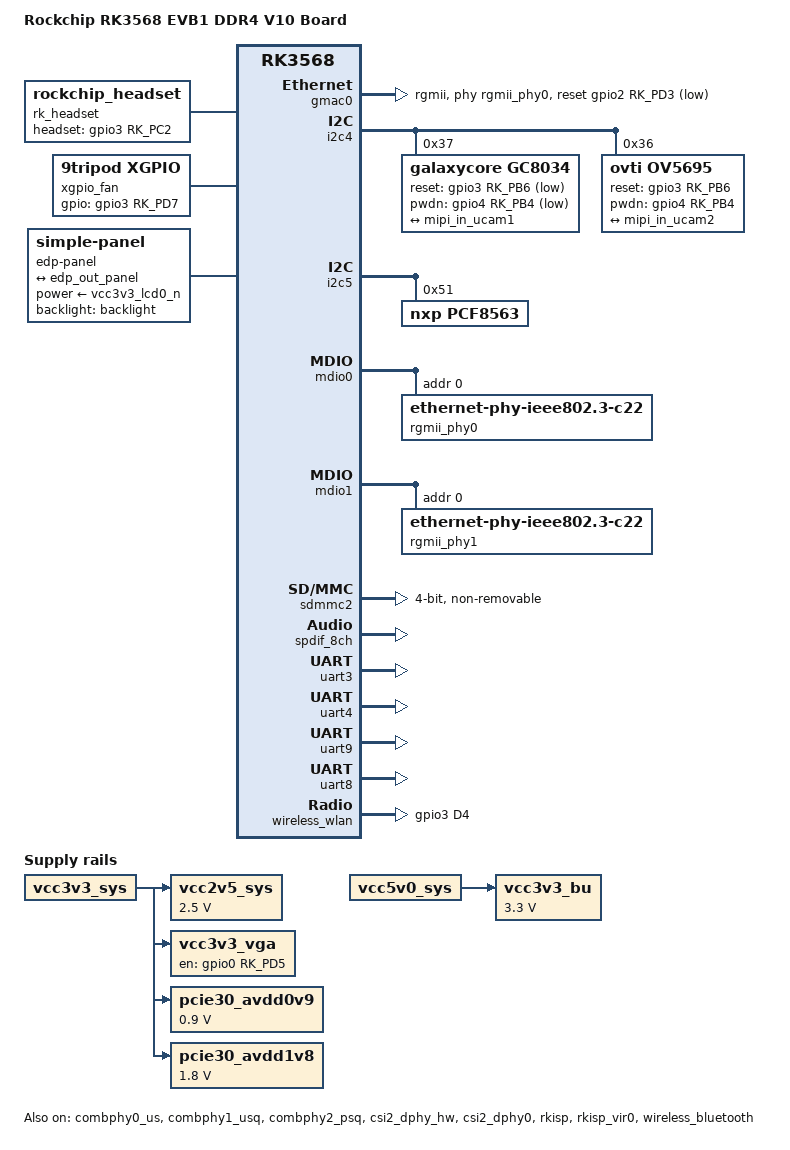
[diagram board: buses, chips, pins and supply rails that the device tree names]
// SPDX-License-Identifier: (GPL-2.0+ OR MIT)
/*
 * Copyright (c) 2020 Rockchip Electronics Co., Ltd.
 *
 */

/dts-v1/;

#include <dt-bindings/gpio/gpio.h>
#include <dt-bindings/pinctrl/rockchip.h>
#include "rk3568.dtsi"
#include "rk3568-evb.dtsi"
//#include "lcd-dsi0-mipi-lvds-1080p.dtsi"//dsi0
#include "lcd-dsi0-mipi1024x600-WY070ML.dtsi"
//#include "lcd-dsi0-lvds1280x800-EJ101IA.dtsi"

/ {
	model = "Rockchip RK3568 EVB1 DDR4 V10 Board";
	compatible = "rockchip,rk3568-evb1-ddr4-v10", "rockchip,rk3568";

	rk_headset: rk-headset {
		compatible = "rockchip_headset";
		headset_gpio = <&gpio3 RK_PC2 GPIO_ACTIVE_HIGH>;
		pinctrl-names = "default";
		pinctrl-0 = <&hp_det>;
	};

	vcc2v5_sys: vcc2v5-ddr {
		compatible = "regulator-fixed";
		regulator-name = "vcc2v5-sys";
		regulator-always-on;
		regulator-boot-on;
		regulator-min-microvolt = <2500000>;
		regulator-max-microvolt = <2500000>;
		vin-supply = <&vcc3v3_sys>;
	};

	vcc3v3_vga: vcc3v3-vga {
		compatible = "regulator-fixed";
		regulator-name = "vcc3v3_vga";
		regulator-always-on;
		regulator-boot-on;
		gpio = <&gpio0 RK_PD5 GPIO_ACTIVE_HIGH>;
		enable-active-high;
		vin-supply = <&vcc3v3_sys>;
	};

	pcie30_avdd0v9: pcie30-avdd0v9 {
		compatible = "regulator-fixed";
		regulator-name = "pcie30_avdd0v9";
		regulator-always-on;
		regulator-boot-on;
		regulator-min-microvolt = <900000>;
		regulator-max-microvolt = <900000>;
		vin-supply = <&vcc3v3_sys>;
	};

	pcie30_avdd1v8: pcie30-avdd1v8 {
		compatible = "regulator-fixed";
		regulator-name = "pcie30_avdd1v8";
		regulator-always-on;
		regulator-boot-on;
		regulator-min-microvolt = <1800000>;
		regulator-max-microvolt = <1800000>;
		vin-supply = <&vcc3v3_sys>;
	};

	vcc3v3_pcie: gpio-regulator {
		compatible = "regulator-gpio";
		regulator-name = "pcie30_3v3";
		regulator-min-microvolt = <100000>;
		regulator-max-microvolt = <3300000>;
		gpios = <&gpio3 RK_PC3 GPIO_ACTIVE_HIGH>; 
		gpios-states = <0x1>;
		states = <100000 0x0
			  3300000 0x1>;
		startup-delay-us = <5000>;
		status = "disabled";
	};

	vcc3v3_bu: vcc3v3-bu {
		compatible = "regulator-fixed";
		regulator-name = "vcc3v3_bu";
		regulator-always-on;
		regulator-boot-on;
		regulator-min-microvolt = <3300000>;
		regulator-max-microvolt = <3300000>;
		vin-supply = <&vcc5v0_sys>;
	};

	vcc_camera: vcc-camera-regulator {
		compatible = "regulator-fixed";
		//gpio = <&gpio0 RK_PC1 GPIO_ACTIVE_HIGH>;
		pinctrl-names = "default";
		//pinctrl-0 = <&camera_pwr>;
		regulator-name = "vcc_camera";
		enable-active-high;
		regulator-always-on;
		regulator-boot-on;
		status = "disabled";
	};

	xgpio_fan {
        status = "okay";
        compatible = "9tripod,xgpio";
        pinctrl-names = "default";
        pinctrl-0 = <&fan_gpio>;
        gpio = <&gpio3 RK_PD7 GPIO_ACTIVE_HIGH>;//gpio3_d7
        def_direction=<1>;
        def_val = <1>;
    };

    	edp-panel {
		compatible = "simple-panel";
		backlight = <&backlight>;
		power-supply = <&vcc3v3_lcd0_n>;
		prepare-delay-ms = <120>;
		enable-delay-ms = <120>;
		unprepare-delay-ms = <120>;
		disable-delay-ms = <120>;

		/*display-timings {
			native-mode = <&edp_timing>;
			edp_timing: timing0 {
				clock-frequency = <200000000>;
				hactive = <1536>;
				vactive = <2048>;
				hfront-porch = <12>;
				hsync-len = <16>;
				hback-porch = <48>;
				vfront-porch = <8>;
				vsync-len = <4>;
				vback-porch = <8>;
				hsync-active = <0>;
				vsync-active = <0>;
				de-active = <0>;
				pixelclk-active = <0>;
			};
		};*/

		port {
			panel_in_edp: endpoint {
				remote-endpoint = <&edp_out_panel>;
			};
		};
	};
};

&combphy0_us {
	status = "okay";
};

&combphy1_usq {
	status = "okay";
};

&combphy2_psq {
	status = "okay";
};

&csi2_dphy_hw {
	status = "okay";
};

&csi2_dphy0 {
	status = "okay";

	ports {
		#address-cells = <1>;
		#size-cells = <0>;
		port@0 {
			reg = <0>;
			#address-cells = <1>;
			#size-cells = <0>;

			/*mipi_in_ucam0: endpoint@1 {
				reg = <1>;
				remote-endpoint = <&ucam_out0>;
				data-lanes = <1 2 3 4>;
			};*/
			mipi_in_ucam1: endpoint@2 {
				reg = <2>;
				remote-endpoint = <&gc8034_out>;
				data-lanes = <1 2 3 4>;
			};
			mipi_in_ucam2: endpoint@3 {
				reg = <3>;
				remote-endpoint = <&ov5695_out>;
				data-lanes = <1 2>;
			};
		};
		port@1 {
			reg = <1>;
			#address-cells = <1>;
			#size-cells = <0>;

			csidphy_out: endpoint@0 {
				reg = <0>;
				remote-endpoint = <&isp0_in>;
			};
		};
	};
};

&edp {
	force-hpd;
	status = "disabled";

	ports {
		port@1 {
			reg = <1>;

			edp_out_panel: endpoint {
				remote-endpoint = <&panel_in_edp>;
			};
		};
	};
};


&edp_phy {
	status = "disabled";
};

&edp_in_vp0 {
	status = "disabled";
};

&edp_in_vp1 {
	status = "disabled";
};

&route_edp {
	connect = <&vp0_out_edp>;
	status = "disabled";
};

&gmac0 {
    phy-mode = "rgmii";
    clock_in_out = "input";

    snps,reset-gpio = <&gpio2 RK_PD3 GPIO_ACTIVE_LOW>;
    snps,reset-active-low;
    /* Reset time is 20ms, 100ms for rtl8211f */
    snps,reset-delays-us = <0 20000 100000>;

    assigned-clocks = <&cru SCLK_GMAC0_RX_TX>, <&cru SCLK_GMAC0>;
    assigned-clock-parents = <&cru SCLK_GMAC0_RGMII_SPEED>, <&gmac0_clkin>;
    pinctrl-names = "default";

    pinctrl-0 = <&gmac0_miim
             &gmac0_tx_bus2
             &gmac0_rx_bus2
             &gmac0_rgmii_clk
             &gmac0_rgmii_bus
             &gmac0_clkinout>;

    tx_delay = <0x2c>;//0x3c
    rx_delay = <0x14>;//0x2f

    phy-handle = <&rgmii_phy0>;
    status = "okay";
};

&gmac1 {
    phy-mode = "rgmii";
    clock_in_out = "input";

    snps,reset-gpio = <&gpio2 RK_PD1 GPIO_ACTIVE_LOW>;
    snps,reset-active-low;
    /* Reset time is 20ms, 100ms for rtl8211f */
    snps,reset-delays-us = <0 20000 100000>;

    assigned-clocks = <&cru SCLK_GMAC1_RX_TX>, <&cru SCLK_GMAC1>;
    assigned-clock-parents = <&cru SCLK_GMAC1_RGMII_SPEED>, <&gmac1_clkin>;
    pinctrl-names = "default";

    pinctrl-0 = <&gmac1m1_miim
             &gmac1m1_tx_bus2
             &gmac1m1_rx_bus2
             &gmac1m1_rgmii_clk
             &gmac1m1_rgmii_bus
             &gmac1m1_clkinout>;

    tx_delay = <0x31>;//0x4f
    rx_delay = <0x0d>;//0x26

    phy-handle = <&rgmii_phy1>;
    status = "disabled";
};



&i2c4 {
	status = "okay";
	gc8034: gc8034@37 {
		compatible = "galaxycore,gc8034";
		status = "okay";
		reg = <0x37>;
		clocks = <&cru CLK_CIF_OUT>;
		clock-names = "xvclk";
		pinctrl-names = "default";
		pinctrl-0 = <&cif_clk>;
		reset-gpios = <&gpio3 RK_PB6 GPIO_ACTIVE_LOW>;
		pwdn-gpios = <&gpio4 RK_PB4 GPIO_ACTIVE_LOW>;
		rockchip,grf = <&grf>;
		power-domains = <&power RK3568_PD_VI>;
		rockchip,camera-module-index = <0>;
		rockchip,camera-module-facing = "back";
		rockchip,camera-module-name = "RK-CMK-8M-2-v1";
		rockchip,camera-module-lens-name = "CK8401";
		port {
			gc8034_out: endpoint {
				remote-endpoint = <&mipi_in_ucam1>;
				data-lanes = <1 2 3 4>;
			};
		};
	};
	/*os04a10: os04a10@36 {
		compatible = "ovti,os04a10";
		reg = <0x36>;
		clocks = <&cru CLK_CIF_OUT>;
		clock-names = "xvclk";
		power-domains = <&power RK3568_PD_VI>;
		pinctrl-names = "default";
		pinctrl-0 = <&cif_clk>;
		reset-gpios = <&gpio3 RK_PB6 GPIO_ACTIVE_LOW>;
		pwdn-gpios = <&gpio4 RK_PB4 GPIO_ACTIVE_HIGH>;
		rockchip,camera-module-index = <0>;
		rockchip,camera-module-facing = "back";
		rockchip,camera-module-name = "CMK-OT1607-FV1";
		rockchip,camera-module-lens-name = "M12-40IRC-4MP-F16";
		port {
			ucam_out0: endpoint {
				remote-endpoint = <&mipi_in_ucam0>;
				data-lanes = <1 2 3 4>;
			};
		};
	};*/
	ov5695: ov5695@36 {
		status = "okay";
		compatible = "ovti,ov5695";
		reg = <0x36>;
		clocks = <&cru CLK_CIF_OUT>;
		clock-names = "xvclk";
		power-domains = <&power RK3568_PD_VI>;
		pinctrl-names = "default";
		pinctrl-0 = <&cif_clk>;
		reset-gpios = <&gpio3 RK_PB6 GPIO_ACTIVE_HIGH>;
		pwdn-gpios = <&gpio4 RK_PB4 GPIO_ACTIVE_HIGH>;
		rockchip,camera-module-index = <0>;
		rockchip,camera-module-facing = "back";
		rockchip,camera-module-name = "TongJu";
		rockchip,camera-module-lens-name = "CHT842-MD";
		port {
			ov5695_out: endpoint {
				remote-endpoint = <&mipi_in_ucam2>;
				data-lanes = <1 2>;
			};
		};
	};
};

&i2c5 {
	status = "okay";

	pcf8563: pcf8563@51 {
		compatible = "nxp,pcf8563";
		//interrupt-parent = <&gpio4>;//gpio4_a6
		//interrupts = <6 IRQ_TYPE_EDGE_RISING>;
		reg = <0x51>;
		#clock-cells = <0>;
		status = "okay";
	};
};

&mdio0 {
	rgmii_phy0: phy@0 {
		compatible = "ethernet-phy-ieee802.3-c22";
		reg = <0x0>;
	};
};

&mdio1 {
	rgmii_phy1: phy@0 {
		compatible = "ethernet-phy-ieee802.3-c22";
		reg = <0x0>;
	};
};

/*&video_phy0 {
	status = "okay";
};

&video_phy1 {
	status = "disabled";
};*/

&pcie30phy {
	status = "disabled";
};

&pcie3x2 {
	reset-gpios = <&gpio2 RK_PD6 GPIO_ACTIVE_HIGH>;
	vpcie3v3-supply = <&vcc3v3_pcie>;
	status = "disabled";
};

&pinctrl {
	cam {
		camera_pwr: camera-pwr {
			rockchip,pins =
				/* camera power en */
				<0 RK_PC1 RK_FUNC_GPIO &pcfg_pull_none>;
		};
	};
	headphone {
		hp_det: hp-det {
			rockchip,pins = <3 RK_PC2 RK_FUNC_GPIO &pcfg_pull_up>;
		};
	};

	wireless-wlan {
		wifi_host_wake_irq: wifi-host-wake-irq {
			rockchip,pins = <3 RK_PD4 RK_FUNC_GPIO &pcfg_pull_down>;
		};
	};

	wireless-bluetooth {
		uart8_gpios: uart8-gpios {
			rockchip,pins = <2 RK_PB1 RK_FUNC_GPIO &pcfg_pull_none>;
		};
	};

	xgpio_fan {
		fan_gpio: fan-gpio {
			rockchip,pins = <3 RK_PD7 RK_FUNC_GPIO &pcfg_pull_up>;
		};
	};
};

&rkisp {
	status = "okay";
};

&rkisp_mmu {
	status = "okay";
};

&rkisp_vir0 {
	status = "okay";

	port {
		#address-cells = <1>;
		#size-cells = <0>;

		isp0_in: endpoint@0 {
			reg = <0>;
			remote-endpoint = <&csidphy_out>;
		};
	};
};

&sata2 {
	status = "disabled";
};

&sdmmc2 {
	max-frequency = <150000000>;
	supports-sdio;
	bus-width = <4>;
	disable-wp;
	cap-sd-highspeed;
	cap-sdio-irq;
	keep-power-in-suspend;
	mmc-pwrseq = <&sdio_pwrseq>;
	non-removable;
	pinctrl-names = "default";
	pinctrl-0 = <&sdmmc2m0_bus4 &sdmmc2m0_cmd &sdmmc2m0_clk>;
	sd-uhs-sdr104;
	status = "okay";
};

&spdif_8ch {
	status = "okay";
	pinctrl-names = "default";
	pinctrl-0 = <&spdifm1_tx>;
};

&uart3 {
	status = "okay";
	pinctrl-names = "default";
	pinctrl-0 = <&uart3m1_xfer>;
};

&uart4 {
	status = "okay";
	pinctrl-names = "default";
	pinctrl-0 = <&uart4m1_xfer>;
};

&uart9 {
	status = "okay";
	pinctrl-names = "default";
	pinctrl-0 = <&uart9m1_xfer>;
};

&uart8 {
	status = "okay";
	pinctrl-names = "default";
	pinctrl-0 = <&uart8m0_xfer &uart8m0_ctsn>;
};

&vcc3v3_lcd0_n {
	gpio = <&gpio3 RK_PC3 GPIO_ACTIVE_HIGH>;
	enable-active-high;
};

&vcc3v3_lcd1_n {
	//gpio = <&gpio0 RK_PC5 GPIO_ACTIVE_HIGH>;
	enable-active-high;
	status = "disabled";
};

&wireless_wlan {
	pinctrl-names = "default";
	pinctrl-0 = <&wifi_host_wake_irq>;
	WIFI,host_wake_irq = <&gpio3 RK_PD4 GPIO_ACTIVE_HIGH>;
};

&wireless_bluetooth {
	compatible = "bluetooth-platdata";
	clocks = <&rk809 1>;
	clock-names = "ext_clock";
	//wifi-bt-power-toggle;
	uart_rts_gpios = <&gpio2 RK_PB1 GPIO_ACTIVE_LOW>;
	pinctrl-names = "default", "rts_gpio";
	pinctrl-0 = <&uart8m0_rtsn>;
	pinctrl-1 = <&uart8_gpios>;
	BT,reset_gpio    = <&gpio3 RK_PA0 GPIO_ACTIVE_HIGH>;
	BT,wake_gpio     = <&gpio3 RK_PA2 GPIO_ACTIVE_HIGH>;
	BT,wake_host_irq = <&gpio3 RK_PA1 GPIO_ACTIVE_HIGH>;
	status = "okay";
};
